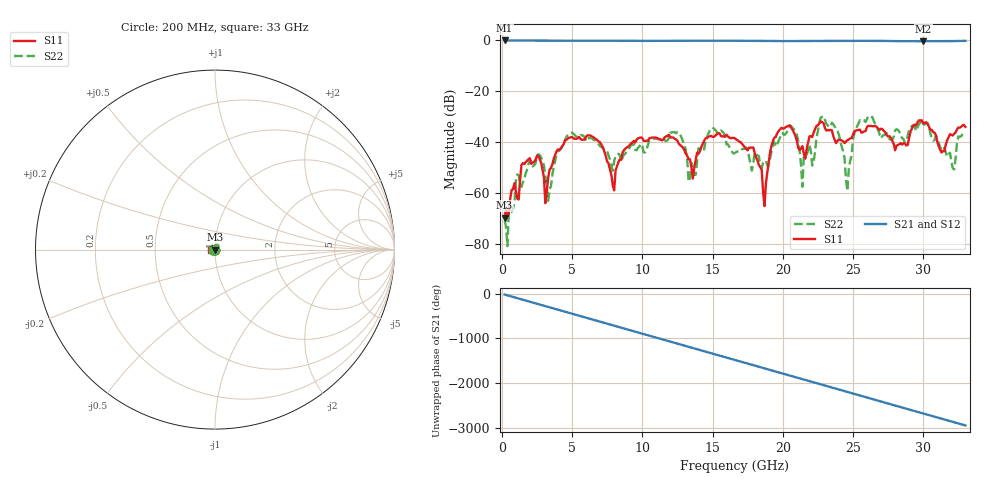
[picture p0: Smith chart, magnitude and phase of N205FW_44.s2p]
# GHZ S RI R 50
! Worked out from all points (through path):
!   329 points, 200 MHz to 33 GHz, reference 50 ohm
!   highest |S21| = -0.02 dB at 200 MHz (marker M1); lowest = -0.3 dB at 30 GHz (marker M2)
!   group delay of S21, straight-line fit = 248 ps
!   lowest |S11| = -69.5 dB at 200 MHz (marker M3), VSWR 1.00, Z = 50 + j0.00893 ohm
!   |S11| at or under -10 dB: start of sweep to end of sweep
!   |S22| runs from -80.7 to -29.6 dB; largest |S21 - S12| = 0.0022
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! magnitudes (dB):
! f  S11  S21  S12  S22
! 200 MHz  -69.5  0.0  0.0  -70.5
! 1.5 GHz  -48.1  -0.1  -0.1  -55.6
! 2.6 GHz  -45.4  -0.1  -0.1  -44.6
! 3.1 GHz  -63.8  -0.1  -0.1  -53.0
! 3.9 GHz  -43.5  -0.1  -0.1  -44.8
! 5.7 GHz  -39.0  -0.1  -0.1  -37.2
! 8 GHz  -58.8  -0.1  -0.1  -47.3
! 11.2 GHz  -38.8  -0.2  -0.2  -38.7
! 13.6 GHz  -54.2  -0.1  -0.1  -51.0
! 15 GHz  -37.9  -0.1  -0.1  -34.2
! 16.6 GHz  -38.4  -0.1  -0.1  -44.1
! 17.9 GHz  -42.0  -0.2  -0.2  -48.2
! 18.7 GHz  -65.0  -0.2  -0.2  -47.3
! 19.7 GHz  -35.6  -0.3  -0.3  -39.4
! 22.1 GHz  -37.9  -0.2  -0.2  -49.1
! 22.9 GHz  -32.5  -0.2  -0.2  -29.7
! 24.6 GHz  -39.1  -0.1  -0.1  -59.0
! 25.5 GHz  -35.0  -0.1  -0.1  -31.2
! 27.6 GHz  -37.6  -0.2  -0.2  -38.7
! 30 GHz  -32.5  -0.3  -0.3  -32.8
! 32.2 GHz  -36.7  -0.3  -0.3  -50.6
! 33 GHz  -33.9  -0.2  -0.2  -36.8
